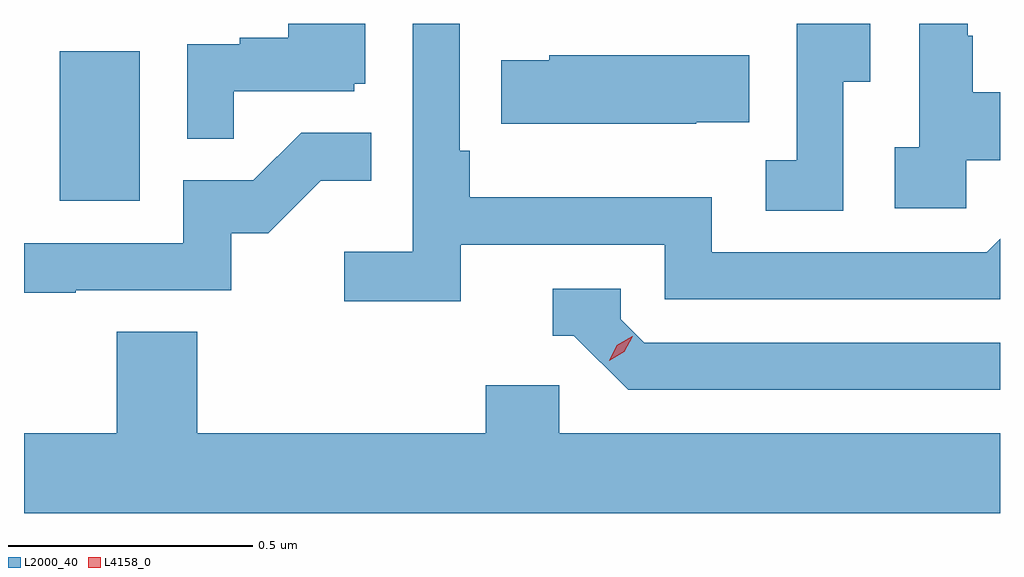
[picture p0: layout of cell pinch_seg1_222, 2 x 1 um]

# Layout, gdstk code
import gdstk
lib = gdstk.Library(unit=1e-6, precision=1e-09)
def R(c, l, rs):  # rectangles x0, y0, x1, y1
    for r in rs: c.add(gdstk.rectangle(r[:2], r[2:], *l))
def P(c, l, *ps):  # polygons
    for p in ps: c.add(gdstk.Polygon(p, *l))
L2000_40 = (2000, 40)
L4158_0 = (4158, 0)

pinch_seg1_222 = lib.new_cell('pinch_seg1_222')
R(pinch_seg1_222, L2000_40, [(1008.698,565.692,1008.862,565.999)])
P(pinch_seg1_222, L2000_40, [(1010.556,565.775),(1010.625,565.775),(1010.625,565.915),(1010.569,565.915),(1010.569,566.03),(1010.559,566.03),(1010.559,566.055),(1010.46,566.055),(1010.46,565.802),(1010.409,565.802),(1010.409,565.677),(1010.556,565.677)],
  [(1010.304,565.936),(1010.359,565.936),(1010.359,566.055),(1010.208,566.055),(1010.208,565.775),(1010.145,565.775),(1010.145,565.672),(1010.304,565.672)],
  [(1009.52,565.602),(1009.938,565.602),(1009.938,565.491),(1010.625,565.491),(1010.625,565.614),(1010.598,565.587),(1010.034,565.587),(1010.034,565.699),(1009.538,565.699),(1009.538,565.795),(1009.518,565.795),(1009.518,566.055),(1009.422,566.055),(1009.422,565.588),(1009.281,565.588),(1009.281,565.486),(1009.52,565.486)],
  [(1009.055,565.917),(1009.302,565.917),(1009.302,565.932),(1009.324,565.932),(1009.324,566.055),(1009.166,566.055),(1009.166,566.026),(1009.067,566.026),(1009.067,566.013),(1008.96,566.013),(1008.96,565.819),(1009.055,565.819)],
  [(1010.003,565.853),(1010.111,565.853),(1010.111,565.99),(1009.701,565.99),(1009.701,565.98),(1009.603,565.98),(1009.603,565.85),(1010.003,565.85)],
  [(1008.731,565.509),(1009.05,565.509),(1009.05,565.626),(1009.126,565.626),(1009.233,565.733),(1009.337,565.733),(1009.337,565.832),(1009.193,565.832),(1009.095,565.734),(1008.951,565.734),(1008.951,565.605),(1008.625,565.605),(1008.625,565.504),(1008.731,565.504)],
  [(1010.625,565.401),(1009.896,565.401),(1009.848,565.449),(1009.848,565.512),(1009.709,565.512),(1009.709,565.416),(1009.752,565.416),(1009.863,565.305),(1010.625,565.305)],
  [(1010.625,565.216),(1009.722,565.216),(1009.722,565.314),(1009.571,565.314),(1009.571,565.216),(1008.98,565.216),(1008.98,565.424),(1008.815,565.424),(1008.815,565.216),(1008.625,565.216),(1008.625,565.052),(1010.625,565.052)])
P(pinch_seg1_222, L4158_0, [(1009.824,565.364),(1009.824,565.364),(1009.84,565.396),(1009.871,565.415),(1009.872,565.415),(1009.872,565.415),(1009.855,565.383),(1009.824,565.364)])

lib.write_gds('pinch_seg1_222.gds')
